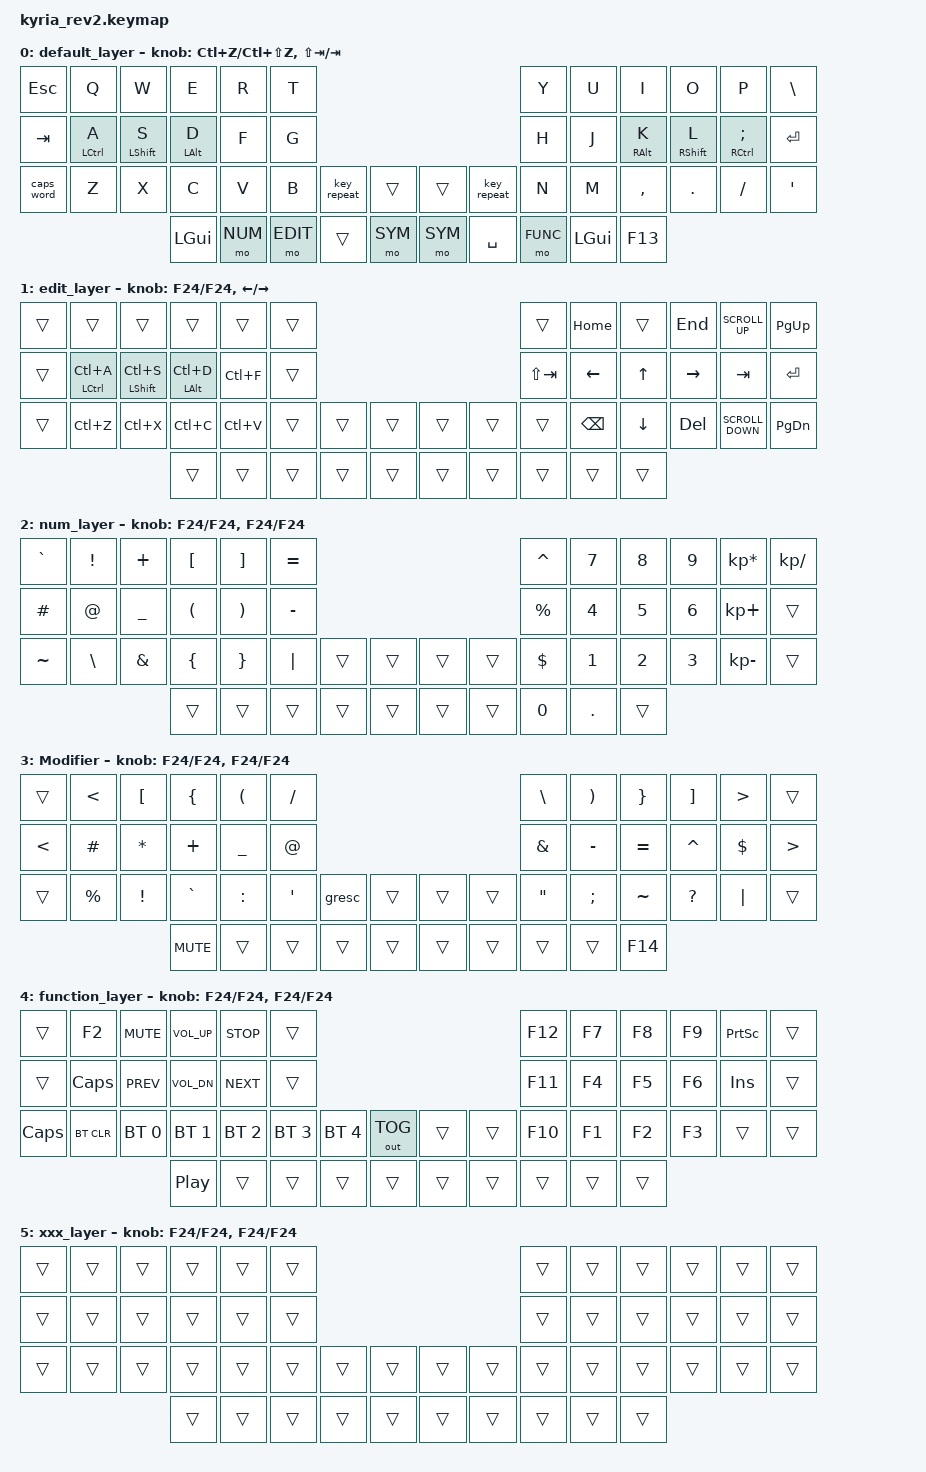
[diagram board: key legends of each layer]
/*
 * Copyright (c) 2020 The ZMK Contributors
 *
 * SPDX-License-Identifier: MIT
 */


#define BASE    0
#define EDIT    1
#define NUM     2
#define SYM     3
#define FUNC    4
#define XXX     5


#include <behaviors.dtsi>
#include <dt-bindings/zmk/keys.h>
#include <dt-bindings/zmk/bt.h>
#include <dt-bindings/zmk/outputs.h>


&left_encoder {
    resolution = <2>;
};

&right_encoder {
    resolution = <2>;
};


/ {
	behaviors {
        hm: homerow_mods {
            compatible = "zmk,behavior-hold-tap";
            label = "HOMEROW_MODS";
            #binding-cells = <2>;
            tapping-term-ms = <150>;
            quick-tap-ms = <0>;
            flavor = "tap-preferred";
            bindings = <&kp>, <&kp>;
        };
    };

    keymap {
		compatible = "zmk,keymap";

		default_layer {
			bindings = <

// -------------------------------------------------------      BASE      ---------------------------------------------------------
// |  ESC  |  Q  |  W  |  E   |  R   |  T   |                                         |  Y   |  U    |   I   |  O   |   P   |  \  |
// |  TAB  | cA  | sS  | aD   |  F   |  G   |                                         |  H   |  J    |  aK   | sL   |  c;   | RET |
// | CAPSW |  Z  |  X  |  C   |  V   |  B   |  REPEAT |        |   |        |  REPEAT |  N   |  M    |   ,   |  .   |   /   |  '  |
//                     | GUI  | _NUM |_EDIT |         |  _SYM  |   |  _SYM  |  SPACE  |_FUNC |       |  F13  |
//                   undo ◌ redo                                                                    tabL ◌ tabR 

	&kp ESC    &kp Q       &kp W       &kp E      &kp R     &kp T                                              &kp Y       &kp U     &kp I       &kp O       &kp P          &kp BSLH
	&kp TAB    &hm LCTRL A &hm LSHFT S &hm LALT D &kp F     &kp G                                              &kp H       &kp J     &hm RALT K  &hm RSHFT L &hm RCTRL SEMI &kp RET
	&caps_word &kp Z       &kp X       &kp C      &kp V     &kp B    &key_repeat &trans    &trans  &key_repeat &kp N       &kp M     &kp COMMA   &kp DOT     &kp FSLH       &kp SQT
	                                   &kp LGUI   &mo NUM   &mo EDIT &trans      &mo SYM   &mo SYM &kp SPACE   &mo FUNC    &kp LGUI  &kp F13
			>;

			sensor-bindings = <&inc_dec_kp LC(Z) LC(LS(Z)) &inc_dec_kp LS(TAB) TAB>;
		};



		edit_layer {
			bindings = <

// -------------------------------------------------------    TEXT EDIT    ------------------------------------------------------------
// |       |       |        |       |       |      |                                |        |  HOME |       |  END  | scrl+  | PG_UP |
// |       | cSEL  | sSAVE  | aDUPE | FIND  |      |                                | FIELD+ |  ←    |   ↑   |  →    | FIELD- |  RET  |
// |       |  UNDO |  CUT   |  COPY | PASTE |      |      |      |  |       |       |        |  BSPC |   ↓   |  DEL  | scrl-  | PG_DN |
//                          |       |       |      |      |      |  |       |       |        |       |       |
//                              ◌                                                                     ←  ◌  → 

	&trans    &trans          &trans          &trans         &trans    &trans                                           &trans      &kp HOME  &trans      &kp END     &kp K_SCROLL_UP   &kp PG_UP
	&trans    &hm LCTRL LC(A) &hm LSHFT LC(S) &hm LALT LC(D) &kp LC(F) &trans                                           &kp LS(TAB) &kp LEFT  &kp UP      &kp RIGHT   &kp TAB           &kp RET
	&trans    &kp LC(Z)       &kp LC(X)       &kp LC(C)      &kp LC(V) &trans   &trans    &trans    &trans    &trans    &trans      &kp BSPC  &kp DOWN    &kp DEL     &kp K_SCROLL_DOWN &kp PG_DN
	                                          &trans         &trans    &trans   &trans    &trans    &trans    &trans    &trans      &trans    &trans
			>;

			sensor-bindings = <&inc_dec_kp F24 F24 &inc_dec_kp LEFT RIGHT>;
		};



		num_layer {
			bindings = <

// -------------------------------------------------------     NUMBERS    ------------------------------------------------------------
// | `     |  !  |  +  |   [   |  ]   |  =   |                                          |  %   |  7    |  8    |  9   |   *   |  /   |
// | #     |  @  |  _  |   (   |  )   |  -   |                                          |  $   |  4    |  5    |  6   |   +   |      |
// | ~     |  \  |  &  |   {   |  }   |  |   |         |         |  |         |         |  ^   |  1    |  2    |  3   |   -   |      |
//                     |       |      |      |         |         |  |         |         |  0   |  .    |       |
//                         ◌                                                                               ◌    

	&kp GRAVE &kp EXCL &kp PLUS  &kp LBKT &kp RBKT &kp EQUAL                             &kp CARET &kp N7 &kp N8 &kp N9 &kp KP_MULTIPLY &kp KP_DIVIDE
	&kp HASH  &kp AT   &kp UNDER &kp LPAR &kp RPAR &kp MINUS                             &kp PRCNT &kp N4 &kp N5 &kp N6 &kp KP_PLUS     &trans    
	&kp TILDE &kp BSLH &kp AMPS  &kp LBRC &kp RBRC &kp PIPE &trans &trans  &trans &trans &kp DLLR  &kp N1 &kp N2 &kp N3 &kp KP_MINUS    &trans
	                       &trans  &trans   &trans          &trans &trans  &trans &trans &kp N0    &kp DOT    &trans
			>;

			sensor-bindings = <&inc_dec_kp F24 F24 &inc_dec_kp F24 F24>;
		};



		symbol_layer {
            label = "Modifier";
            bindings = <

// -------------------------------------------------------     SYMBOLS     -----------------------------
// |     |  <  |  [  |  {  |  (  |  /  |                           |  \  |  )  |  }  |  ]  |  >  |     |
// |  <  |  #  |  *  |  +  |  _  |  @  |                           |  &  |  -  |  =  |  ^  |  $  |  >  |
// |     |  %  |  !  |  `  |  :  |  '  |  `  |     |  |     |      |  "  |  ;  |  ~  |  ?  |  |  |     |
//                   | MUT |     |     |     |     |  |     |      |     |     | F14 |
//                      ◌                                                         ◌    

    &trans &kp LT    &kp LBKT  &kp LBRC   &kp LPAR  &kp FSLH                                &kp BSLH &kp RPAR  &kp RBRC  &kp RBKT  &kp GT   &trans
    &kp LT &kp HASH  &kp STAR  &kp PLUS   &kp UNDER &kp AT                                  &kp AMPS &kp MINUS &kp EQUAL &kp CARET &kp DLLR &kp GT
    &trans &kp PRCNT &kp EXCL  &kp GRAVE  &kp COLON &kp APOS  &gresc  &trans  &trans &trans &kp DQT  &kp SEMI  &kp TILDE &kp QMARK &kp PIPE &trans
                               &kp C_MUTE &trans    &trans    &trans  &trans  &trans &trans &trans   &trans    &kp F14
            >;

            sensor-bindings = <&inc_dec_kp F24 F24  &inc_dec_kp F24 F24>;
        };



		function_layer {
			bindings = <

// -------------------------------------------------------     FUNCTIONS     ----------------------------------------------------
// |       |  F2 | mute| V+   | stp  |   @  |                                       | F12  |  F7   |  F8   |  F9  | Print|      |
// |       | caps| Prev| V-   | Next |   @p |                                       | F11  |  F4   |  F5   |  F6  | Ins  |      |
// |       | /Ble| Ble0| Ble1 | Ble2 | Ble3 |  Ble4  |         |  |         |       | F10  |  F1   |  F2   |  F3  |      |      |
//                     | PLAYP|      |      |        |         |  |         |       |      |       |       |
//                         ◌                                                                           ◌    

	&trans   &kp F2     &kp C_MUTE   &kp C_VOL_UP &kp C_STOP   &trans                                                 &kp F12 &kp F7 &kp F8 &kp F9 &kp PSCRN &trans
	&trans   &kp CAPS   &kp C_PREV   &kp C_VOL_DN &kp C_NEXT   &trans                                                 &kp F11 &kp F4 &kp F5 &kp F6 &kp INS   &trans
	&kp CAPS &bt BT_CLR &bt BT_SEL 0 &bt BT_SEL 1 &bt BT_SEL 2 &bt BT_SEL 3 &bt BT_SEL 4 &out OUT_TOG  &trans  &trans &kp F10 &kp F1 &kp F2 &kp F3 &trans    &trans
	                                 &kp C_PP     &trans       &trans       &trans       &trans        &trans  &trans &trans  &trans &trans
			>;

			sensor-bindings = <&inc_dec_kp F24 F24 &inc_dec_kp F24 F24>;
		};



		xxx_layer {
			bindings = <

// -------------------------------------------------------     XXXXXX     ------------------------------------------------------------
// |      |      |     |      |      |      |                                          |      |       |       |       |       |      |
// |      |      |     |      |      |      |                                          |      |       |       |       |       |      |
// |      |      |     |      |      |      |         |         |  |         |         |      |       |       |       |       |      |
//                     |      |      |      |         |         |  |         |         |      |       |       |
//                        ◌                                                                               ◌    

	&trans    &trans          &trans          &trans         &trans    &trans                                           &trans      &trans    &trans      &trans      &trans         &trans
	&trans    &trans          &trans          &trans         &trans    &trans                                           &trans      &trans    &trans      &trans      &trans         &trans
	&trans    &trans          &trans          &trans         &trans    &trans   &trans    &trans    &trans    &trans    &trans      &trans    &trans      &trans      &trans         &trans
	                                          &trans         &trans    &trans   &trans    &trans    &trans    &trans    &trans      &trans    &trans
			>;

			sensor-bindings = <&inc_dec_kp F24 F24 &inc_dec_kp F24 F24>;
		};
	};
};
